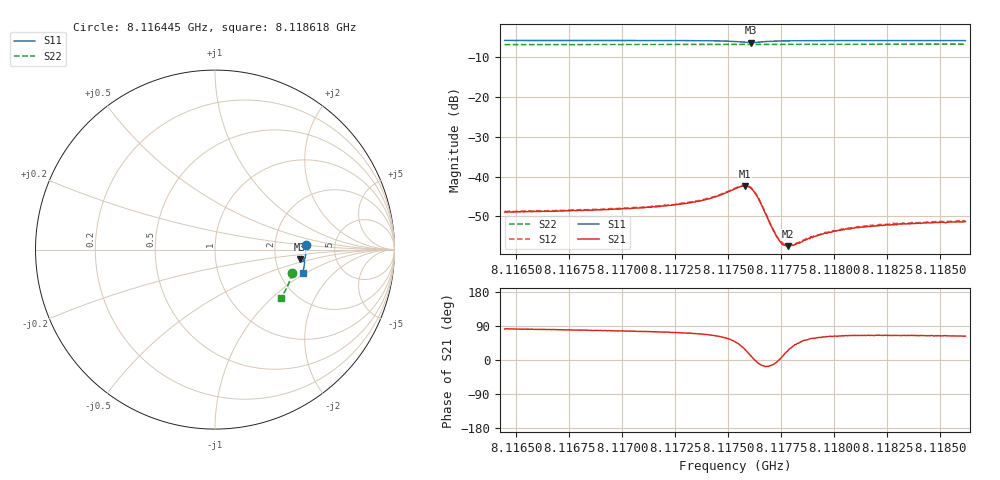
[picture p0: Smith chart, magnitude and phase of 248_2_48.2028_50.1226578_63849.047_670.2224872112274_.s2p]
#  HZ  S  RI  R  50.00
! Rohde & Schwarz Vector Network Analyzer
! Rohde-Schwarz,ZNB20-2Port,1311601062101988,3.16
! Created: UTC 3/20/2024, 11:47:08 AM
! freq[Hz]  re:S11  im:S11  re:S21  im:S21  re:S12  im:S12  re:S22  im:S22
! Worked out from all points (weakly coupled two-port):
!   401 points, 8.116445 GHz to 8.118618 GHz, reference 50 ohm
!   highest |S21| = -42.34 dB at 8.117581 GHz (marker M1); lowest = -57.5 dB at 8.117782 GHz (marker M2)
!   lowest |S11| = -6.4 dB at 8.117608 GHz (marker M3), VSWR 2.82, Z = 138 - j19.5 ohm
!   |S11| at or under -10 dB: nowhere
!   |S22| runs from -6.9 to -6.8 dB; largest |S21 - S12| = 0.0002
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8.1164455e9  0.5063 0.0252  0.000515 0.00355  0.000545 0.0036  0.4298 -0.132
8.1168094e9  0.5063 -0.00265  0.000747 0.0037  0.000799 0.00375  0.4226 -0.1564
8.1171733e9  0.5044 -0.0316  0.00115 0.00404  0.00125 0.00413  0.4139 -0.18
8.1172385e9  0.5036 -0.0371  0.00132 0.0042  0.00138 0.00423  0.4123 -0.1844
8.1173743e9  0.5008 -0.0496  0.00185 0.00464  0.00194 0.00471  0.4085 -0.1933
8.1174504e9  0.4973 -0.0576  0.00256 0.00509  0.00269 0.00511  0.4063 -0.1983
8.1175319e9  0.4873 -0.0658  0.00468 0.00521  0.00481 0.00528  0.4035 -0.2034
8.117559e9  0.4812 -0.0657  0.0059 0.00462  0.00605 0.00465  0.4027 -0.2049
8.1175807e9  0.4761 -0.0628  0.00682 0.00344  0.00698 0.00346  0.4018 -0.2061
8.1176079e9  0.4735 -0.0548  0.00697 0.00126  0.00716 0.00119  0.401 -0.2074
8.1176242e9  0.4756 -0.05  0.00631 4.37e-05  0.00643 -2.17e-05  0.4007 -0.2081
8.1176405e9  0.4795 -0.0469  0.00534 -0.000751  0.00543 -0.000805  0.4005 -0.2089
8.1177057e9  0.4932 -0.0503  0.00225 -0.000543  0.00224 -0.000597  0.3992 -0.2133
8.1177328e9  0.4957 -0.0541  0.0017 -9.05e-05  0.0017 -0.000109  0.3984 -0.215
8.1177546e9  0.4971 -0.0569  0.00139 0.000233  0.00147 0.000237  0.3978 -0.2165
8.1177817e9  0.498 -0.0603  0.00122 0.000559  0.00123 0.000587  0.397 -0.2182
8.1178089e9  0.4985 -0.0635  0.00109 0.000846  0.00111 0.000865  0.3961 -0.2199
8.1178958e9  0.4987 -0.0725  0.000925 0.00144  0.000969 0.00146  0.3934 -0.2256
8.1179555e9  0.4983 -0.078  0.000952 0.00171  0.000916 0.00176  0.3914 -0.2294
8.1180479e9  0.4973 -0.0859  0.000945 0.00194  0.000972 0.00197  0.3884 -0.235
8.1182597e9  0.4943 -0.1028  0.00107 0.00223  0.0011 0.00228  0.381 -0.248
8.1186182e9  0.4877 -0.1295  0.00124 0.00243  0.00127 0.0025  0.3676 -0.2693
